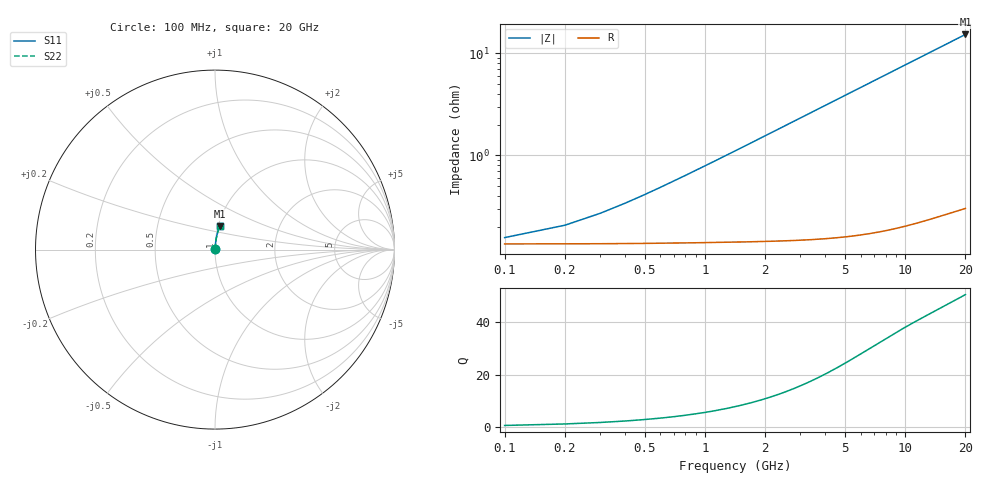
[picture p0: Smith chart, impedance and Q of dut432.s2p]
! Touchstone file exported from HFSS 2026.1.0
!  File:  C:/ffzhzh/LocalFiles/Ansys_Project_Files/temp_train_TSV_432_1783021192_53980.aedt
!  Generated:  03:42:15 AM Jul  3, 2026
!  Design:  TSV
!  Project:  temp_train_TSV_432_1783021192_53980
! Variables:
!  h_bsmrdl = 2um
!  h_ox = 20um
!  h_rdl = 5um
!  h_sub = 53.18um
!  h_tmrdl = 5um
!  h_tsv = 53.18um
!  h_via = 3um
!  l_bsmrdl = 300um
!  l_sub = 404.28um
!  l_tmrdl = 200um
!  m_sub = 200um
!  pitch = 54.15um
!  r_tsv = 2.14um
!  s_tmrdl = 10um
!  w_bsmrdl = 18um
!  w_sub = 500um
!  w_tmrdl = 12um
!  x_tsv_center1 = 206um
!  x_tsv_center2 = 524um
!  x_tsv_center3 = 736um
!  x_tsv_center4 = 1054um
!  x_tsv_center5 = 1266um
!  x_tsv_center6 = 1584um
# GHz S MA R 50.000000
! Terminal data exported
! Port[1] = TSV1_1_T1
! Port[2] = TSV1_1_T2
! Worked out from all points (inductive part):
!   200 points, 100 MHz to 20 GHz, reference 50 ohm
!   read as one part in series: L = 124 pH near 600 MHz
!   highest Q = 50.6 at 20 GHz (marker M1), where L = 122 pH
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0.1  0.00152 26.6  0.9986 -0.1  0.9986 -0.1  0.00152 26.6
! Gamma 0 0 0 0
! Port Impedance 50 0 50 0
0.3  0.002457 56.1  0.9986 -0.2  0.9986 -0.2  0.002457 56.1
0.4  0.003047 63.1  0.9986 -0.2  0.9986 -0.2  0.003047 63.1
0.5  0.003666 67.7  0.9986 -0.3  0.9986 -0.3  0.003666 67.7
0.6  0.004303 71.0  0.9986 -0.3  0.9986 -0.3  0.004303 71.0
0.7  0.004949 73.4  0.9986 -0.4  0.9986 -0.4  0.004949 73.4
0.9  0.006258 76.7  0.9986 -0.5  0.9986 -0.5  0.006258 76.7
1.2  0.008243 79.6  0.9986 -0.6  0.9986 -0.6  0.008243 79.6
1.4  0.009574 80.8  0.9985 -0.7  0.9985 -0.7  0.009574 80.8
1.7  0.01158 82.1  0.9985 -0.9  0.9985 -0.9  0.01158 82.1
2.2  0.01492 83.3  0.9984 -1.1  0.9984 -1.1  0.01492 83.3
2.8  0.01895 84.2  0.9984 -1.4  0.9984 -1.4  0.01895 84.2
3.5  0.02365 84.6  0.9982 -1.8  0.9982 -1.8  0.02365 84.6
4.2  0.02834 84.8  0.9981 -2.1  0.9981 -2.1  0.02834 84.8
5  0.03371 84.8  0.9978 -2.5  0.9978 -2.5  0.03371 84.8
5.9  0.03973 84.7  0.9976 -2.9  0.9976 -2.9  0.03973 84.7
6.8  0.04574 84.4  0.9972 -3.4  0.9972 -3.4  0.04574 84.4
8.3  0.05572 83.9  0.9966 -4.1  0.9966 -4.1  0.05572 83.9
10.1  0.06764 83.3  0.9957 -5.0  0.9957 -5.0  0.06764 83.2
13.4  0.08929 81.8  0.9936 -6.7  0.9936 -6.7  0.08929 81.8
16.7  0.1107 80.3  0.9912 -8.3  0.9912 -8.3  0.1107 80.3
20  0.1318 78.8  0.9883 -9.9  0.9883 -9.9  0.1318 78.8
